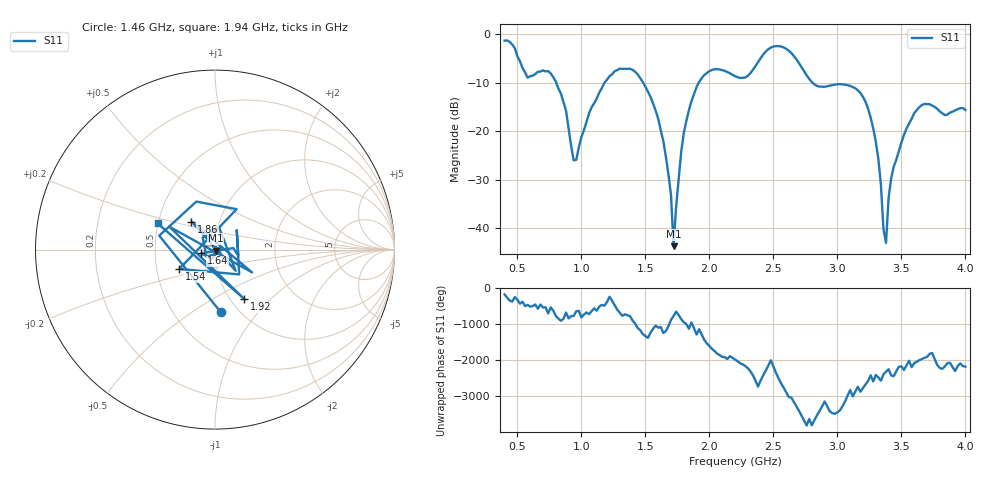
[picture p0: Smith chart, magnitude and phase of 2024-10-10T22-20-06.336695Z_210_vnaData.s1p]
! Created with skrf (http://scikit-rf.org).
# Hz S RI R 50.0
!freq ReS11 ImS11
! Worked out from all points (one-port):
!   181 points, 400 MHz to 4 GHz, reference 50 ohm
!   lowest |S11| = -43.6 dB at 1.72 GHz (marker M1), VSWR 1.01, Z = 50.4 - j0.509 ohm
!   |S11| at or under -10 dB: 803 MHz to 1.181 GHz (377.7 MHz wide, 38.1 % of centre); 1.482 GHz to 1.917 GHz (435.3 MHz wide, 25.6 % of centre); 2.805 GHz to end of sweep
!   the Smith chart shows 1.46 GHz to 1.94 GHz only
!   S11 on the Smith chart (normalised r, x): 1.46 GHz: 0.83, -0.66; 1.54 GHz: 0.65, -0.15; 1.64 GHz: 0.86, -0.04; 1.86 GHz: 0.74, +0.24; 1.92 GHz: 1.16, -0.71; 1.94 GHz: 0.50, +0.17
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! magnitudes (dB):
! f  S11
! 400 MHz  -1.4
! 580 MHz  -9.0
! 760 MHz  -8.1
! 860 MHz  -14.0
! 960 MHz  -25.9
! 1.08 GHz  -15.0
! 1.3 GHz  -7.1
! 1.46 GHz  -9.1
! 1.54 GHz  -12.9
! 1.64 GHz  -22.0
! 1.7 GHz  -33.1
! 1.72 GHz  -43.6
! 1.76 GHz  -29.7
! 1.86 GHz  -13.8
! 1.92 GHz  -9.9
! 1.94 GHz  -9.1
! 2.2 GHz  -8.7
! 2.5 GHz  -2.6
! 2.66 GHz  -4.5
! 2.84 GHz  -10.7
! 3.1 GHz  -10.7
! 3.28 GHz  -19.4
! 3.32 GHz  -25.7
! 3.38 GHz  -43.0
! 3.42 GHz  -29.7
! 3.56 GHz  -18.4
! 3.68 GHz  -14.4
! 4 GHz  -15.6
